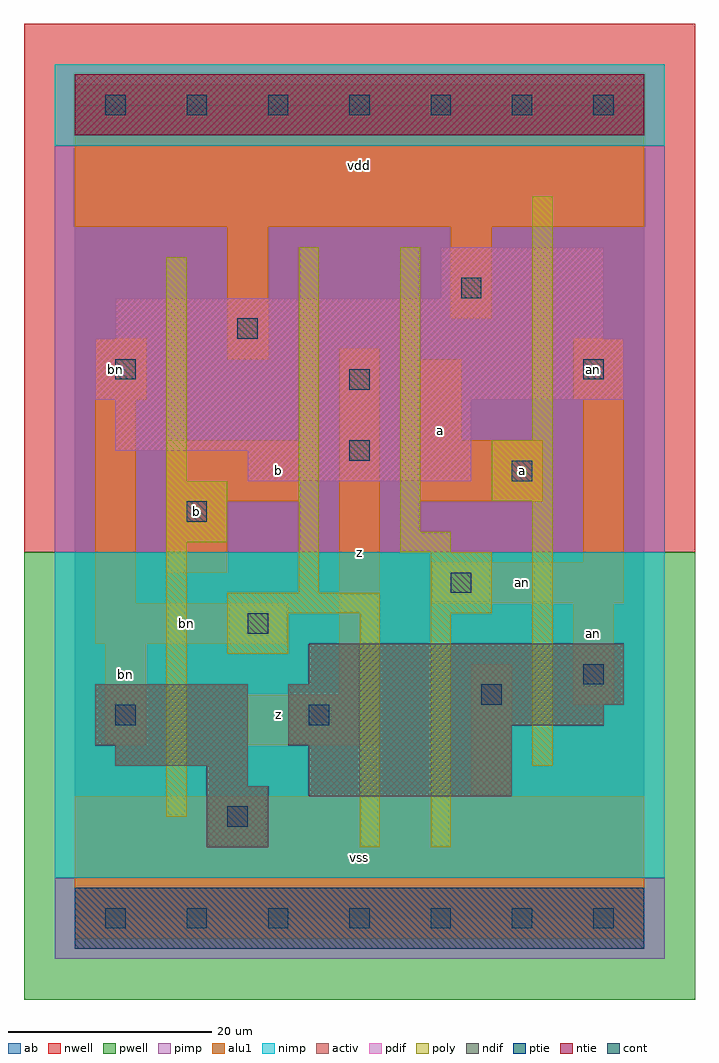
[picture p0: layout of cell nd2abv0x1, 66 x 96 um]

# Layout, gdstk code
import gdstk
lib = gdstk.Library(unit=1e-6, precision=1e-09)
def R(c, l, rs):  # rectangles x0, y0, x1, y1
    for r in rs: c.add(gdstk.rectangle(r[:2], r[2:], *l))
def A(c, l, x, y, w, h, nx, ny, dx, dy):  # array of equal rectangles
    R(c, l, [(x+i*dx, y+j*dy, x+i*dx+w, y+j*dy+h) for i in range(nx) for j in range(ny)])
ndif = (3, 0)
pdif = (4, 0)
ntie = (5, 0)
ptie = (6, 0)
cont = (25, 0)
pwell = (41, 0)
nwell = (42, 0)
activ = (43, 0)
pimp = (44, 0)
nimp = (45, 0)
poly = (46, 0)
alu1 = (49, 0)
ab = (63, 0)

nd2abv0x1 = lib.new_cell('nd2abv0x1')
R(nd2abv0x1, ndif, [(13,7,19,13), (23,12,43,17), (13,13,17,15), (4,15,17,17), (2,17,17,23), (21,17,43,19), (21,19,52,21), (21,21,54,23), (23,23,54,27)])
R(nd2abv0x1, pdif, [(17,43,39,46), (4,46,39,51), (2,51,54,57), (4,57,52,61), (36,61,52,66)])
R(nd2abv0x1, ntie, [(0,77,56,83)])
R(nd2abv0x1, ptie, [(0,-3,56,3)])
A(nd2abv0x1, cont, 3, -1, 2, 2, 7, 2, 8, 80)
R(nd2abv0x1, cont, [(15,9,17,11), (4,19,6,21), (23,19,25,21), (40,21,42,23), (50,23,52,25), (17,28,19,30), (37,32,39,34), (11,39,13,41), (43,43,45,45), (27,45,29,47), (27,52,29,54), (4,53,6,55), (50,53,52,55), (16,57,18,59), (38,61,40,63)])
R(nd2abv0x1, pwell, [(-5,-8,61,36)])
R(nd2abv0x1, nwell, [(-5,36,61,88)])
R(nd2abv0x1, activ, [(0,-3,56,3), (13,7,19,13), (23,12,43,17), (13,13,17,15), (4,15,17,17), (2,17,17,23), (21,17,43,19), (21,19,52,21), (21,21,54,23), (23,23,54,27), (17,43,39,46), (4,46,39,51), (2,51,54,57), (4,57,52,61), (36,61,52,66), (0,77,56,83)])
R(nd2abv0x1, pimp, [(-2,-4,58,4), (-2,36,58,76)])
R(nd2abv0x1, nimp, [(-2,4,58,36), (-2,76,58,84)])
R(nd2abv0x1, poly, [(28,7,30,30), (35,7,37,30), (9,10,11,37), (45,15,47,41), (15,26,21,30), (15,30,30,32), (35,30,41,36), (22,32,24,66), (32,36,37,38), (9,37,15,43), (32,38,34,66), (41,41,47,47), (9,43,11,65), (45,47,47,71)])
R(nd2abv0x1, alu1, [(0,-2,56,12), (39,12,43,25), (3,17,7,27), (17,17,30,22), (49,21,53,31), (26,22,30,56), (2,27,21,31), (2,31,6,51), (35,31,54,35), (9,34,15,41), (50,35,54,51), (9,41,22,47), (34,41,46,47), (34,47,38,55), (2,51,7,57), (49,51,54,57), (15,55,19,68), (37,59,41,68), (0,68,56,82)])
R(nd2abv0x1, ab, [(0,0,56,80)])
nd2abv0x1.add(gdstk.Label('bn', (5,24), layer=49, texttype=0))
nd2abv0x1.add(gdstk.Label('bn', (4,54), layer=49, texttype=0))
nd2abv0x1.add(gdstk.Label('bn', (11,29), layer=49, texttype=0))
nd2abv0x1.add(gdstk.Label('an', (44,33), layer=49, texttype=0))
nd2abv0x1.add(gdstk.Label('an', (51,28), layer=49, texttype=0))
nd2abv0x1.add(gdstk.Label('an', (51,54), layer=49, texttype=0))
nd2abv0x1.add(gdstk.Label('z', (20,20), layer=49, texttype=0))
nd2abv0x1.add(gdstk.Label('b', (20,44), layer=49, texttype=0))
nd2abv0x1.add(gdstk.Label('b', (12,40), layer=49, texttype=0))
nd2abv0x1.add(gdstk.Label('vss', (28,6), layer=49, texttype=0))
nd2abv0x1.add(gdstk.Label('z', (28,36), layer=49, texttype=0))
nd2abv0x1.add(gdstk.Label('a', (36,48), layer=49, texttype=0))
nd2abv0x1.add(gdstk.Label('vdd', (28,74), layer=49, texttype=0))
nd2abv0x1.add(gdstk.Label('a', (44,44), layer=49, texttype=0))

lib.write_gds('nd2abv0x1.gds')
